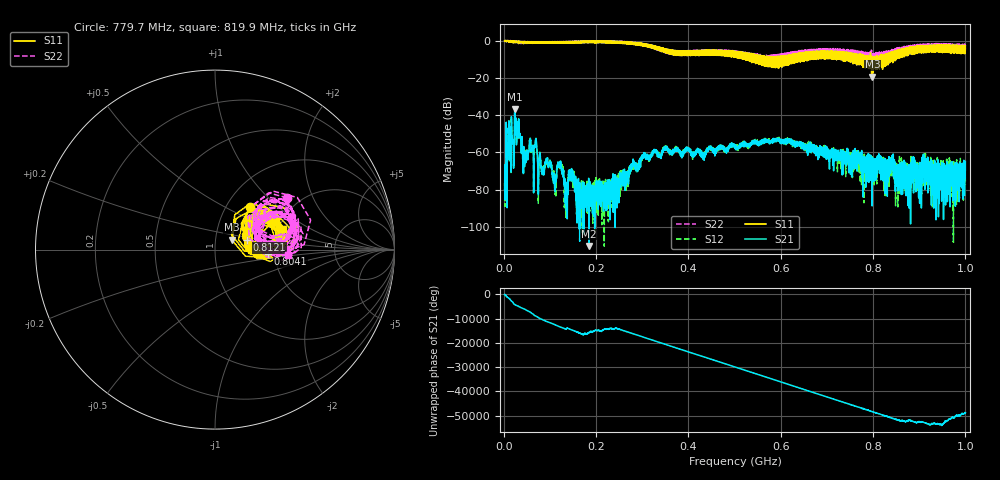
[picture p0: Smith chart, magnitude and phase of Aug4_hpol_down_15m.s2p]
!Keysight Technologies N9923A: A.12.45
!Date: Tuesday, 05 August 2025 18:15:23
!Timezone: (UTC+08:00) Kuala Lumpur, Singapore
!Model: N9923A
!Serial: MY61181427
!GPS Latitude:
!GPS Longitude:
!GPS TimeStamp: 0001-01-01 00:00:00Z
!GPS Seconds Since Last Read: 0
!CHECKSUM:1050222487
!Correction: S11(ON U)S21(ON U)S12(ON U)S22(ON U)
!S2P File: Measurements:S11,S21,S12,S22:
# Hz S DB R 50
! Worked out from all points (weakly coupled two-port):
!   4001 points, 2 MHz to 1 GHz, reference 50 ohm
!   highest |S21| = -36.83 dB at 23.96 MHz (marker M1); lowest = -110.2 dB at 184.6 MHz (marker M2)
!   lowest |S11| = -19.3 dB at 798.7 MHz (marker M3), VSWR 1.24, Z = 59.9 + j6.61 ohm
!   |S11| at or under -10 dB: 555.5982 MHz to 556.4125 MHz (814.4 kHz wide, 0.146 % of centre); 562.3166 MHz to 563.1953 MHz (878.7 kHz wide, 0.156 % of centre); 563.9747 MHz to 564.876 MHz (901.3 kHz wide, 0.16 % of centre)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
!   |S22| runs from -14.0 to 0.1 dB; largest |S21 - S12| = 0.0011
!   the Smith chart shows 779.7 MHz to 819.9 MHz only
!   S11 on the Smith chart (normalised r, x): 779.7 MHz: 1.29, +0.68; 804.1 MHz: 1.84, -0.10; 812.1 MHz: 1.42, +0.16; 819.9 MHz: 2.11, +0.57
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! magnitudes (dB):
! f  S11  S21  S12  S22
! 2 MHz  -0.1  -79.9  -76.5  -0.1
! 9.735 MHz  -0.1  -48.5  -48.6  0.0
! 23.96 MHz  -1.1  -36.8  -37.0  -1.3
! 32.94 MHz  -0.7  -45.9  -45.8  -1.0
! 45.66 MHz  -0.8  -64.5  -64.3  -1.2
! 67.12 MHz  -0.7  -57.6  -57.0  -0.6
! 78.85 MHz  -0.8  -60.8  -60.2  -0.7
! 110 MHz  -1.1  -74.2  -73.5  -1.1
! 121 MHz  -0.9  -66.6  -66.3  -0.8
! 135 MHz  -1.3  -89.1  -82.4  -1.2
! 168.4 MHz  -1.2  -85.4  -75.2  -1.0
! 184.6 MHz  -0.4  -110.2  -86.2  -0.2
! 334.8 MHz  -4.2  -60.4  -61.3  -4.9
! 501 MHz  -6.4  -57.0  -56.0  -7.2
! 667.4 MHz  -9.1  -57.9  -58.0  -8.0
! 779.7 MHz  -10.2  -64.8  -64.5  -6.1
! 798.7 MHz  -19.3  -65.2  -70.8  -8.4
! 804.1 MHz  -10.6  -71.1  -70.3  -12.9
! 812.1 MHz  -14.6  -63.1  -64.3  -8.3
! 819.9 MHz  -8.1  -63.7  -67.9  -7.8
! 833.8 MHz  -9.4  -64.9  -74.5  -5.5
! 1 GHz  -2.7  -64.8  -77.3  -3.8
